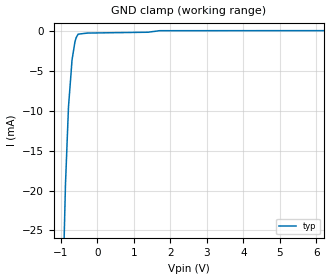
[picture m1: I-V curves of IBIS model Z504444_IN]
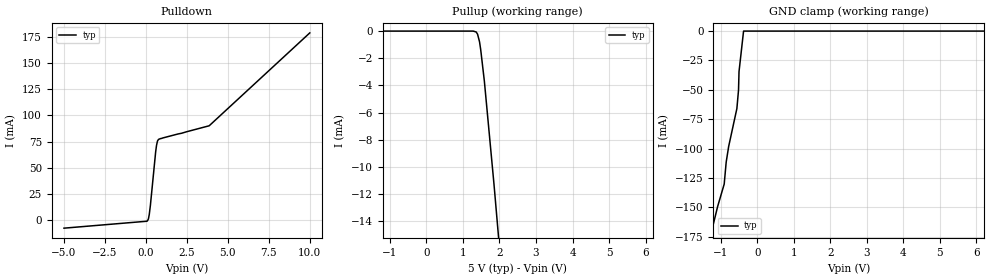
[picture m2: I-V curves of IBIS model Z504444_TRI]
| YOU ARE ONLY AUTHORIZED TO USE THIS SOFTWARE
| ACCORDING TO LICENSOR'S LICENSE RESTRICTIONS.
[IBIS Ver] 3.1
[File Name] sn54ls366aj.ibs
[File Rev] 2.0
[Source] Measured and created by ICX Technology
[Date] Friday 7/14/00 9:08:15 AM
[Copyright]
| (C) COPYRIGHT 1993-2000
| MENTOR GRAPHICS CORPORATION
| ICX STANDARD LIBRARY, ICX PROJECT MODELING,
| ICX CUSTOM MODELING, ICX VENDOR MODEL
| ALL RIGHTS RESERVED.
| THE FOLLOWING ARE TRADEMARKS OR SERVICE MARKS OF
| MENTOR GRAPHICS CORPORATION:ICX (R), ICX STANDARD
| LIBRARY(R), ICX PROJECT MODELING(R), ICX CUSTOM
| MODELING(R), qualityIBIS(TM), MODELVIEWER(TM),
| AND MODELEDITOR(TM)
| ALL COPIES OF SOFTWARE, INCLUDING BUT NOT LIMITED TO
| ANY MODIFICATIONS, ENHANCEMENTS OR DERIVATIVE WORKS,
| MUST CONTAIN ALL MENTOR GRAPHICS CORPORATION'S
| NOTICES AND LEGENDS, INCLUDING THOSE EMBEDDED IN
| SOFTWARE AND THOSE AFFIXED TO SOFTWARE MEDIUM
| AND CONTAINER, AS RECEIVED FROM MENTOR GRAPHICS
| CORPORATION.
|  ZAP Model Builder 2.7
[Component] SN54LS366AJ
[Manufacturer] OnSemiconductor
[Package]
| variable   typ   min   max
R_pkg  .212ohms NA NA
L_pkg  4.758nH NA NA
C_pkg  1.944pF NA NA
[Pin] signal_name  model_name  R_pin  L_pin C_pin
1 _G1 Z504444_IN .224 7.258n 2.683p
2 A0 Z504444_IN .216 5.258n 2.19p
3 _Y0 Z504444_TRI .208 3.758n 1.697p
4 A1 Z504444_IN .2 2.758n 1.204p
5 _Y1 Z504444_TRI .2 2.758n 1.204p
6 A2 Z504444_IN .208 3.758n 1.697p
7 _Y2 Z504444_TRI .216 5.258n 2.19p
8 GND GND .224 7.258n 2.683p
9 _Y3 Z504444_TRI .224 7.258n 2.683p
10 A3 Z504444_IN .216 5.258n 2.19p
11 _Y4 Z504444_TRI .208 3.758n 1.697p
12 A4 Z504444_IN .2 2.758n 1.204p
13 _Y5 Z504444_TRI .2 2.758n 1.204p
14 A5 Z504444_IN .208 3.758n 1.697p
15 _G2 Z504444_IN .216 5.258n 2.19p
16 VCC POWER .224 7.258n 2.683p
| Models and submodels in the file (2): Z504444_IN (Input), Z504444_TRI (3-state)
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| (C) COPYRIGHT 1993-2000
| MENTOR GRAPHICS CORPORATION
| ICX STANDARD LIBRARY, ICX PROJECT MODELING,
| ICX CUSTOM MODELING, ICX VENDOR MODEL
| ALL RIGHTS RESERVED.
| THE FOLLOWING ARE TRADEMARKS OR SERVICE MARKS OF
| MENTOR GRAPHICS CORPORATION:ICX (R), ICX STANDARD
| LIBRARY(R), ICX PROJECT MODELING(R), ICX CUSTOM
| MODELING(R), qualityIBIS(TM), MODELVIEWER(TM),
| AND MODELEDITOR(TM)
| ALL COPIES OF SOFTWARE, INCLUDING BUT NOT LIMITED TO
| ANY MODIFICATIONS, ENHANCEMENTS OR DERIVATIVE WORKS,
| MUST CONTAIN ALL MENTOR GRAPHICS CORPORATION'S
| NOTICES AND LEGENDS, INCLUDING THOSE EMBEDDED IN
| SOFTWARE AND THOSE AFFIXED TO SOFTWARE MEDIUM
| AND CONTAINER, AS RECEIVED FROM MENTOR GRAPHICS
| CORPORATION.
| Model Application Version 1.89 2/18/99.
[Model] Z504444_IN
Model_type Input
Vinl = 800.0mV
Vinh = 2.000V
C_comp 4.000pF NA NA
| variable typ   min   max
[Voltage Range] 5.000V NA NA
[GND Clamp Reference] 0.000V NA NA
[POWER Clamp Reference] 5.000V NA NA
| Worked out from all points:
|   GND clamp passes 1 mA (typ) near -0.59 V on its own axis
[GND Clamp]
-5V       -784mA     NA         NA
-872.8mV  -19.23mA   NA         NA
-790.4mV  -9.555mA   NA         NA
-693.4mV  -3.676mA   NA         NA
-614.2mV  -1.421mA   NA         NA
-581mV    -883.5uA   NA         NA
-527.3mV  -440.4uA   NA         NA
-263.7mV  -300.3uA   NA         NA
1.389V    -197.4uA   NA         NA
1.704V    -6.571uA   NA         NA
10V       8.986uA    NA         NA
[POWER Clamp]
-5V       0A         NA         NA
10V       0A         NA         NA
| (C) COPYRIGHT 1993-2000
| MENTOR GRAPHICS CORPORATION
| ICX STANDARD LIBRARY, ICX PROJECT MODELING,
| ICX CUSTOM MODELING, ICX VENDOR MODEL
| ALL RIGHTS RESERVED.
| THE FOLLOWING ARE TRADEMARKS OR SERVICE MARKS OF
| MENTOR GRAPHICS CORPORATION:ICX (R), ICX STANDARD
| LIBRARY(R), ICX PROJECT MODELING(R), ICX CUSTOM
| MODELING(R), qualityIBIS(TM), MODELVIEWER(TM),
| AND MODELEDITOR(TM)
| ALL COPIES OF SOFTWARE, INCLUDING BUT NOT LIMITED TO
| ANY MODIFICATIONS, ENHANCEMENTS OR DERIVATIVE WORKS,
| MUST CONTAIN ALL MENTOR GRAPHICS CORPORATION'S
| NOTICES AND LEGENDS, INCLUDING THOSE EMBEDDED IN
| SOFTWARE AND THOSE AFFIXED TO SOFTWARE MEDIUM
| AND CONTAINER, AS RECEIVED FROM MENTOR GRAPHICS
| CORPORATION.
| Model Application Version 1.89 2/18/99.
[Model] Z504444_TRI
Model_type 3-state
Vref=588.0mV
Rref=588.5ohms
Cref=45.00pF
Vmeas=1.300V
C_comp 8.000pF NA NA
| variable typ   min   max
[Voltage Range] 5.000V NA NA
[POWER Clamp Reference] 5.000V NA NA
[Pullup Reference] 5.000V NA NA
[Pulldown Reference] 0.000V NA NA
[GND Clamp Reference] 0.000V NA NA
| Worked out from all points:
|   slope of the pulldown table from 0 to 0.75 V, typ, clamps not added: 9.64 ohm
|   GND clamp passes 1 mA (typ) near -0.38 V on its own axis
[GND Clamp]
-5V       -647.8mA   NA         NA
-1.084V   -149.4mA   NA         NA
-903.4mV  -130.2mA   NA         NA
-849mV    -111.5mA   NA         NA
-780.8mV  -98.1mA    NA         NA
-556.6mV  -65.96mA   NA         NA
-511.2mV  -50.13mA   NA         NA
-498mV    -34.54mA   NA         NA
-373.5mV  0A         NA         NA
10V       0A         NA         NA
[Pulldown]
-5V       -7.624mA   NA         NA
87.89mV   -734.2uA   NA         NA
151.3mV   1.131mA    NA         NA
204.2mV   5.467mA    NA         NA
273.3mV   14.21mA    NA         NA
595.7mV   65.51mA    NA         NA
648.3mV   71.61mA    NA         NA
705.9mV   75.61mA    NA         NA
762.8mV   77.04mA    NA         NA
3.86V     90.17mA    NA         NA
10V       178.9mA    NA         NA
[Pullup]
-5V       1.962uA    NA         NA
1.282V    1.427uA    NA         NA
1.364V    -65.22uA   NA         NA
1.401V    -228.4uA   NA         NA
1.455V    -790uA     NA         NA
1.487V    -1.371mA   NA         NA
1.587V    -3.689mA   NA         NA
1.85V     -11.27mA   NA         NA
10V       -265.4mA   NA         NA
[POWER Clamp]
-5V       0A         NA         NA
10V       0A         NA         NA
[Ramp]
| variable typ min max
dV/dt_r 1.923/8.226n NA NA
dV/dt_f 1.923/4.924n NA NA
R_load = 500.0Ohms
